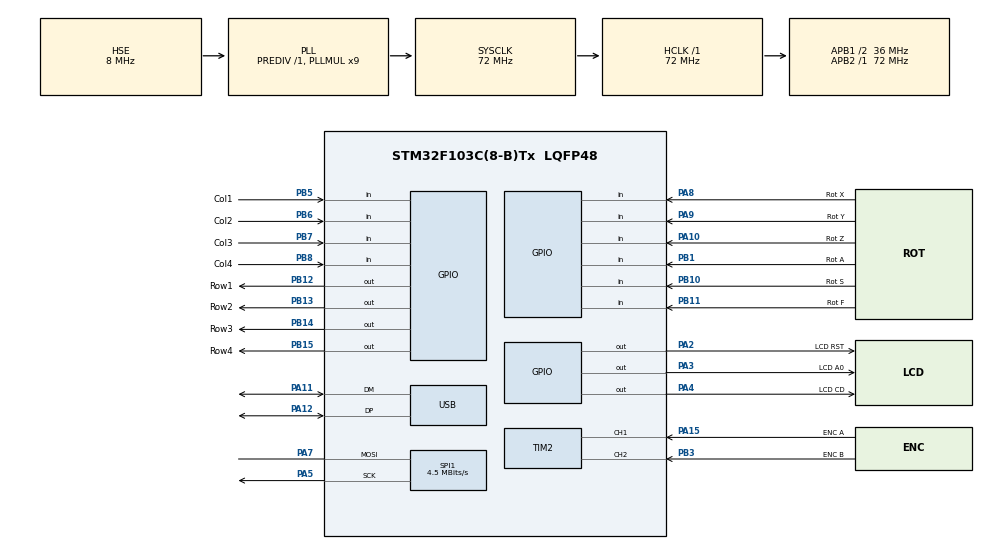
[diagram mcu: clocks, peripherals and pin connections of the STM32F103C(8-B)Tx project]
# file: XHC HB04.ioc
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Mcu.Family=STM32F1
Mcu.Name=STM32F103C(8-B)Tx
Mcu.Package=LQFP48
NVIC.PriorityGroup=NVIC_PRIORITYGROUP_4
NVIC.USB_LP_CAN1_RX0_IRQn=true\:0\:0\:false\:false\:true\:false\:true\:true
PA10.GPIO_Label=Rot Z
PA10.GPIO_PuPd=GPIO_PULLUP
PA10.Signal=GPIO_Input
PA11.Mode=Device
PA11.Signal=USB_DM
PA12.Mode=Device
PA12.Signal=USB_DP
PA13.Mode=Serial_Wire
PA13.Signal=SYS_JTMS-SWDIO
PA14.Mode=Serial_Wire
PA14.Signal=SYS_JTCK-SWCLK
PA15.GPIO_Label=ENC A
PA15.GPIO_PuPd=GPIO_PULLUP
PA15.Signal=S_TIM2_CH1_ETR
PA2.GPIO_Label=LCD RST
PA2.Signal=GPIO_Output
PA3.GPIO_Label=LCD A0
PA3.Signal=GPIO_Output
PA4.GPIO_Label=LCD CD
PA4.Signal=GPIO_Output
PA5.Mode=Simplex_Bidirectional_Master
PA5.Signal=SPI1_SCK
PA7.Mode=Simplex_Bidirectional_Master
PA7.Signal=SPI1_MOSI
PA8.GPIO_Label=Rot X
PA8.GPIO_PuPd=GPIO_PULLUP
PA8.Signal=GPIO_Input
PA9.GPIO_Label=Rot Y
PA9.GPIO_PuPd=GPIO_PULLUP
PA9.Signal=GPIO_Input
PB1.GPIO_Label=Rot A
PB1.GPIO_PuPd=GPIO_PULLUP
PB1.Signal=GPIO_Input
PB10.GPIO_Label=Rot S
PB10.GPIO_PuPd=GPIO_PULLUP
PB10.Signal=GPIO_Input
PB11.GPIO_Label=Rot F
PB11.GPIO_PuPd=GPIO_PULLUP
PB11.Signal=GPIO_Input
PB12.GPIO_Label=Row1
PB12.GPIO_ModeDefaultOutputPP=GPIO_MODE_OUTPUT_OD
PB12.GPIO_PuPd=GPIO_NOPULL
PB12.Signal=GPIO_Output
PB13.GPIO_Label=Row2
PB13.GPIO_ModeDefaultOutputPP=GPIO_MODE_OUTPUT_OD
PB13.GPIO_PuPd=GPIO_NOPULL
PB13.Signal=GPIO_Output
PB14.GPIO_Label=Row3
PB14.GPIO_ModeDefaultOutputPP=GPIO_MODE_OUTPUT_OD
PB14.GPIO_PuPd=GPIO_NOPULL
PB14.Signal=GPIO_Output
PB15.GPIO_Label=Row4
PB15.GPIO_ModeDefaultOutputPP=GPIO_MODE_OUTPUT_OD
PB15.GPIO_PuPd=GPIO_NOPULL
PB15.Signal=GPIO_Output
PB3.GPIO_Label=ENC B
PB3.GPIO_PuPd=GPIO_PULLUP
PB3.Signal=S_TIM2_CH2
PB5.GPIO_Label=Col1
PB5.GPIO_PuPd=GPIO_PULLUP
PB5.Signal=GPIO_Input
PB6.GPIO_Label=Col2
PB6.GPIO_PuPd=GPIO_PULLUP
PB6.Signal=GPIO_Input
PB7.GPIO_Label=Col3
PB7.GPIO_PuPd=GPIO_PULLUP
PB7.Signal=GPIO_Input
PB8.GPIO_Label=Col4
PB8.GPIO_PuPd=GPIO_PULLUP
PB8.Signal=GPIO_Input
PD0-OSC_IN.Mode=HSE-External-Oscillator
PD0-OSC_IN.Signal=RCC_OSC_IN
PD1-OSC_OUT.Mode=HSE-External-Oscillator
PD1-OSC_OUT.Signal=RCC_OSC_OUT
ProjectManager.HeapSize=0x200
ProjectManager.StackSize=0x400
ProjectManager.TargetToolchain=STM32CubeIDE
RCC.AHBFreq_Value=72000000
RCC.APB1CLKDivider=RCC_HCLK_DIV2
RCC.APB1Freq_Value=36000000
RCC.APB1TimFreq_Value=72000000
RCC.APB2Freq_Value=72000000
RCC.APB2TimFreq_Value=72000000
RCC.HCLKFreq_Value=72000000
RCC.PLLMUL=RCC_PLL_MUL9
RCC.SYSCLKFreq_VALUE=72000000
RCC.SYSCLKSource=RCC_SYSCLKSOURCE_PLLCLK
RCC.USBFreq_Value=48000000
RCC.USBPrescaler=RCC_USBCLKSOURCE_PLL_DIV1_5
SH.S_TIM2_CH1_ETR.0=TIM2_CH1,Encoder_Interface
SH.S_TIM2_CH2.0=TIM2_CH2,Encoder_Interface
SPI1.BaudRatePrescaler=SPI_BAUDRATEPRESCALER_16
SPI1.CalculateBaudRate=4.5 MBits/s
SPI1.Direction=SPI_DIRECTION_1LINE
SPI1.Mode=SPI_MODE_MASTER
SPI1.VirtualType=VM_MASTER
TIM2.IC1Filter=4
TIM2.IC2Filter=4
USB_DEVICE.CLASS_NAME_FS=CUSTOM_HID
USB_DEVICE.USBD_CUSTOM_HID_REPORT_DESC_SIZE=41
USB_DEVICE.VirtualMode=CustomHid
USB_DEVICE.VirtualModeFS=Custom_Hid_FS
VP_USB_DEVICE_VS_USB_DEVICE_CUSTOM_HID_FS.Mode=CUSTOM_HID_FS
board=custom

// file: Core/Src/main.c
/* USER CODE BEGIN Header */
/**
  ******************************************************************************
  * @file           : main.c
  * @brief          : Main program body
  ******************************************************************************
  * @attention
  *
  * Copyright (c) 2025 STMicroelectronics.
  * All rights reserved.
  *
  * This software is licensed under terms that can be found in the LICENSE file
  * in the root directory of this software component.
  * If no LICENSE file comes with this software, it is provided AS-IS.
  *
  ******************************************************************************
  */
/* USER CODE END Header */
#include "main.h"
#include "usb_device.h"

/* USER CODE BEGIN Includes */
#include <stdint.h>
#include "xhc_screen.h"
#include "xhc_display.h"
#include "ST7735.h"
#include "GFX_FUNCTIONS.h"
#include "io_inputs.h"
#include "xhc_input_bridge.h"
#include "io_kbd.h"
/* USER CODE END Includes */

SPI_HandleTypeDef hspi1;

TIM_HandleTypeDef htim2;

void SystemClock_Config(void);
static void MX_GPIO_Init(void);
static void MX_SPI1_Init(void);
static void MX_TIM2_Init(void);
/* USER CODE BEGIN PFP */
void insert_thousand_separators(char *s);
void string2uint(int32_t value, char padd, char *o);
void string2fixed3(int32_t value, char *out);
void string2int(int32_t value, char padd, char *o);

/* HB04/HB03 Positionsformat:
   Vorzeichen steckt im MSB von ifrac (bit15). ipadd/fpadd = Mindestbreite int/fract. */
void xhc2string(uint16_t iint, uint16_t ifrac, char ipadd, char fpadd, char *o);

void int2strprec( int32_t v, char padd, char *o );
/* USER CODE END PFP */

int main(void)
{

  /* MCU Configuration--------------------------------------------------------*/

  /* Reset of all peripherals, Initializes the Flash interface and the Systick. */
  HAL_Init();

  /* Configure the system clock */
  SystemClock_Config();

  /* Initialize all configured peripherals */
  MX_GPIO_Init();
  MX_SPI1_Init();
  MX_USB_DEVICE_Init();
  MX_TIM2_Init();
  /* USER CODE BEGIN 2 */

  // Start Setting ENCODER x4
  HAL_TIM_Encoder_Stop(&htim2, TIM_CHANNEL_ALL);

  TIM_Encoder_InitTypeDef s = {0};
  s.EncoderMode    = TIM_ENCODERMODE_TI12;
  s.IC1Polarity    = TIM_ICPOLARITY_BOTHEDGE;
  s.IC1Selection   = TIM_ICSELECTION_DIRECTTI;
  s.IC1Prescaler   = TIM_ICPSC_DIV1;
  s.IC1Filter      = 4;  // leichtes Entprellen
  s.IC2Polarity    = TIM_ICPOLARITY_BOTHEDGE;
  s.IC2Selection   = TIM_ICSELECTION_DIRECTTI;
  s.IC2Prescaler   = TIM_ICPSC_DIV1;
  s.IC2Filter      = 4;

  HAL_TIM_Encoder_DeInit(&htim2);
  HAL_TIM_Encoder_Init(&htim2, &s);
  __HAL_TIM_SET_COUNTER(&htim2, 0);
  HAL_TIM_Encoder_Start(&htim2, TIM_CHANNEL_ALL);

  // END Setting ENCODER x4

  HAL_GPIO_WritePin(Row1_GPIO_Port, Row1_Pin, GPIO_PIN_SET);
  HAL_GPIO_WritePin(Row2_GPIO_Port, Row2_Pin, GPIO_PIN_SET);
  HAL_GPIO_WritePin(Row3_GPIO_Port, Row3_Pin, GPIO_PIN_SET);
  HAL_GPIO_WritePin(Row4_GPIO_Port, Row4_Pin, GPIO_PIN_SET);

  XHC_InputBridge_Init();
  KBD_Init();
  IOInputs_Init();
  ST7735_Init(3);
  fillScreen(WHITE);
  XHC_Display_Init();
  RenderScreen_Init();

  HAL_TIM_Encoder_Start(&htim2, TIM_CHANNEL_ALL);
  __HAL_TIM_SET_COUNTER(&htim2, 0);
  //testAll();

  /* USER CODE END 2 */

  /* Infinite loop */
  /* USER CODE BEGIN WHILE */
  while (1)
  {
	    RenderScreen();
	    XHC_InputBridge_Tick();
	    HAL_Delay(1);
    /* USER CODE END WHILE */

  }
}

void SystemClock_Config(void)
{
  RCC_OscInitTypeDef RCC_OscInitStruct = {0};
  RCC_ClkInitTypeDef RCC_ClkInitStruct = {0};
  RCC_PeriphCLKInitTypeDef PeriphClkInit = {0};

  /** Initializes the RCC Oscillators according to the specified parameters
  * in the RCC_OscInitTypeDef structure.
  */
  RCC_OscInitStruct.OscillatorType = RCC_OSCILLATORTYPE_HSE;
  RCC_OscInitStruct.HSEState = RCC_HSE_ON;
  RCC_OscInitStruct.HSEPredivValue = RCC_HSE_PREDIV_DIV1;
  RCC_OscInitStruct.HSIState = RCC_HSI_ON;
  RCC_OscInitStruct.PLL.PLLState = RCC_PLL_ON;
  RCC_OscInitStruct.PLL.PLLSource = RCC_PLLSOURCE_HSE;
  RCC_OscInitStruct.PLL.PLLMUL = RCC_PLL_MUL9;
  if (HAL_RCC_OscConfig(&RCC_OscInitStruct) != HAL_OK)
  {
    Error_Handler();
  }

  /** Initializes the CPU, AHB and APB buses clocks
  */
  RCC_ClkInitStruct.ClockType = RCC_CLOCKTYPE_HCLK|RCC_CLOCKTYPE_SYSCLK
                              |RCC_CLOCKTYPE_PCLK1|RCC_CLOCKTYPE_PCLK2;
  RCC_ClkInitStruct.SYSCLKSource = RCC_SYSCLKSOURCE_PLLCLK;
  RCC_ClkInitStruct.AHBCLKDivider = RCC_SYSCLK_DIV1;
  RCC_ClkInitStruct.APB1CLKDivider = RCC_HCLK_DIV2;
  RCC_ClkInitStruct.APB2CLKDivider = RCC_HCLK_DIV1;

  if (HAL_RCC_ClockConfig(&RCC_ClkInitStruct, FLASH_LATENCY_2) != HAL_OK)
  {
    Error_Handler();
  }
  PeriphClkInit.PeriphClockSelection = RCC_PERIPHCLK_USB;
  PeriphClkInit.UsbClockSelection = RCC_USBCLKSOURCE_PLL_DIV1_5;
  if (HAL_RCCEx_PeriphCLKConfig(&PeriphClkInit) != HAL_OK)
  {
    Error_Handler();
  }
}

static void MX_SPI1_Init(void)
{

  /* SPI1 parameter configuration*/
  hspi1.Instance = SPI1;
  hspi1.Init.Mode = SPI_MODE_MASTER;
  hspi1.Init.Direction = SPI_DIRECTION_1LINE;
  hspi1.Init.DataSize = SPI_DATASIZE_8BIT;
  hspi1.Init.CLKPolarity = SPI_POLARITY_LOW;
  hspi1.Init.CLKPhase = SPI_PHASE_1EDGE;
  hspi1.Init.NSS = SPI_NSS_SOFT;
  hspi1.Init.BaudRatePrescaler = SPI_BAUDRATEPRESCALER_16;
  hspi1.Init.FirstBit = SPI_FIRSTBIT_MSB;
  hspi1.Init.TIMode = SPI_TIMODE_DISABLE;
  hspi1.Init.CRCCalculation = SPI_CRCCALCULATION_DISABLE;
  hspi1.Init.CRCPolynomial = 10;
  if (HAL_SPI_Init(&hspi1) != HAL_OK)
  {
    Error_Handler();
  }

}

static void MX_TIM2_Init(void)
{

  TIM_Encoder_InitTypeDef sConfig = {0};
  TIM_MasterConfigTypeDef sMasterConfig = {0};

  htim2.Instance = TIM2;
  htim2.Init.Prescaler = 0;
  htim2.Init.CounterMode = TIM_COUNTERMODE_UP;
  htim2.Init.Period = 65535;
  htim2.Init.ClockDivision = TIM_CLOCKDIVISION_DIV1;
  htim2.Init.AutoReloadPreload = TIM_AUTORELOAD_PRELOAD_DISABLE;
  sConfig.EncoderMode = TIM_ENCODERMODE_TI1;
  sConfig.IC1Polarity = TIM_ICPOLARITY_RISING;
  sConfig.IC1Selection = TIM_ICSELECTION_DIRECTTI;
  sConfig.IC1Prescaler = TIM_ICPSC_DIV1;
  sConfig.IC1Filter = 4;
  sConfig.IC2Polarity = TIM_ICPOLARITY_RISING;
  sConfig.IC2Selection = TIM_ICSELECTION_DIRECTTI;
  sConfig.IC2Prescaler = TIM_ICPSC_DIV1;
  sConfig.IC2Filter = 4;
  if (HAL_TIM_Encoder_Init(&htim2, &sConfig) != HAL_OK)
  {
    Error_Handler();
  }
  sMasterConfig.MasterOutputTrigger = TIM_TRGO_RESET;
  sMasterConfig.MasterSlaveMode = TIM_MASTERSLAVEMODE_DISABLE;
  if (HAL_TIMEx_MasterConfigSynchronization(&htim2, &sMasterConfig) != HAL_OK)
  {
    Error_Handler();
  }

}

static void MX_GPIO_Init(void)
{
  GPIO_InitTypeDef GPIO_InitStruct = {0};

  /* GPIO Ports Clock Enable */
  __HAL_RCC_GPIOD_CLK_ENABLE();
  __HAL_RCC_GPIOA_CLK_ENABLE();
  __HAL_RCC_GPIOB_CLK_ENABLE();

  /*Configure GPIO pin Output Level */
  HAL_GPIO_WritePin(GPIOA, LCD_RST_Pin|LCD_A0_Pin|LCD_CD_Pin, GPIO_PIN_RESET);

  /*Configure GPIO pin Output Level */
  HAL_GPIO_WritePin(GPIOB, Row1_Pin|Row2_Pin|Row3_Pin|Row4_Pin, GPIO_PIN_RESET);

  /*Configure GPIO pins : LCD_RST_Pin LCD_A0_Pin LCD_CD_Pin */
  GPIO_InitStruct.Pin = LCD_RST_Pin|LCD_A0_Pin|LCD_CD_Pin;
  GPIO_InitStruct.Mode = GPIO_MODE_OUTPUT_PP;
  GPIO_InitStruct.Pull = GPIO_NOPULL;
  GPIO_InitStruct.Speed = GPIO_SPEED_FREQ_LOW;
  HAL_GPIO_Init(GPIOA, &GPIO_InitStruct);

  /*Configure GPIO pins : Rot_A_Pin Rot_S_Pin Rot_F_Pin Col1_Pin
                           Col2_Pin Col3_Pin Col4_Pin */
  GPIO_InitStruct.Pin = Rot_A_Pin|Rot_S_Pin|Rot_F_Pin|Col1_Pin
                          |Col2_Pin|Col3_Pin|Col4_Pin;
  GPIO_InitStruct.Mode = GPIO_MODE_INPUT;
  GPIO_InitStruct.Pull = GPIO_PULLUP;
  HAL_GPIO_Init(GPIOB, &GPIO_InitStruct);

  /*Configure GPIO pins : Row1_Pin Row2_Pin Row3_Pin Row4_Pin */
  GPIO_InitStruct.Pin = Row1_Pin|Row2_Pin|Row3_Pin|Row4_Pin;
  GPIO_InitStruct.Mode = GPIO_MODE_OUTPUT_OD;
  GPIO_InitStruct.Pull = GPIO_NOPULL;
  GPIO_InitStruct.Speed = GPIO_SPEED_FREQ_LOW;
  HAL_GPIO_Init(GPIOB, &GPIO_InitStruct);

  /*Configure GPIO pins : Rot_X_Pin Rot_Y_Pin Rot_Z_Pin */
  GPIO_InitStruct.Pin = Rot_X_Pin|Rot_Y_Pin|Rot_Z_Pin;
  GPIO_InitStruct.Mode = GPIO_MODE_INPUT;
  GPIO_InitStruct.Pull = GPIO_PULLUP;
  HAL_GPIO_Init(GPIOA, &GPIO_InitStruct);

}

/* USER CODE BEGIN 4 */

void HAL_SYSTICK_Callback(void)
{
  KBD_Tick1ms();              // 1x/ms: Matrix-Scan + Entprellung
}
/* USER CODE END 4 */

void Error_Handler(void)
{
  __disable_irq();
  while (1)
  {
  }
}
